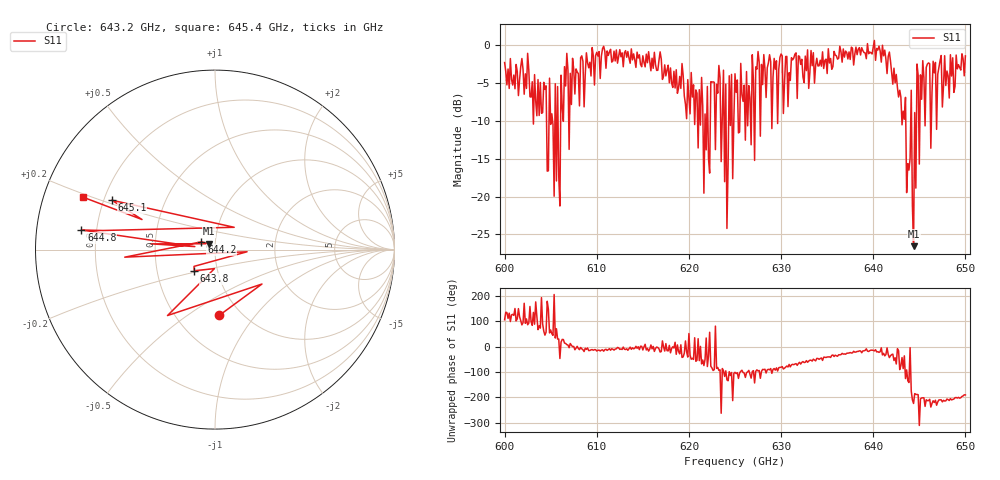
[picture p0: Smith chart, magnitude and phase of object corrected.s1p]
!Created with skrf (http://scikit-rf.org).
# GHz S MA R 50.0
!freq magS11 angS11
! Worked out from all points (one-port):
!   401 points, 600 GHz to 650 GHz, reference 50 ohm
!   lowest |S11| = -26.6 dB at 644.4 GHz (marker M1), VSWR 1.10, Z = 46.6 + j3.05 ohm
!   |S11| at or under -10 dB: 604.5515 GHz to 604.8172 GHz (265.8 MHz wide, 0.044 % of centre); 605.2074 GHz to 605.4587 GHz (251.3 MHz wide, 0.0415 % of centre); 643.5309 GHz to 644.0686 GHz (537.7 MHz wide, 0.0835 % of centre) (the widest 3 of 36)
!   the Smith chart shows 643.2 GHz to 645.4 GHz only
!   S11 on the Smith chart (normalised r, x): 643.2 GHz: 0.80, -0.67; 643.8 GHz: 0.77, -0.19; 644.2 GHz: 0.86, +0.07; 644.8 GHz: 0.14, +0.07; 645.1 GHz: 0.23, +0.22; 645.4 GHz: 0.12, +0.19
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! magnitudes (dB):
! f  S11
! 600 GHz  -2.3
! 604.2 GHz  -4.9
! 605.8 GHz  -5.5
! 606.2 GHz  -8.2
! 606.6 GHz  -5.4
! 612.5 GHz  -0.6
! 618.8 GHz  -6.3
! 620.5 GHz  -5.2
! 621.9 GHz  -13.8
! 622.6 GHz  -4.8
! 623.5 GHz  -15.4
! 624.1 GHz  -24.2
! 625 GHz  -3.8
! 626.9 GHz  -1.2
! 627.5 GHz  -0.8
! 628.6 GHz  -2.3
! 630.5 GHz  -1.5
! 631.2 GHz  -1.9
! 637.5 GHz  -1.9
! 641 GHz  0.0
! 643.2 GHz  -8.7
! 643.8 GHz  -15.6
! 644.2 GHz  -21.2
! 644.4 GHz  -26.6
! 644.8 GHz  -2.5
! 645.1 GHz  -3.9
! 645.4 GHz  -2.0
! 650 GHz  -1.4
